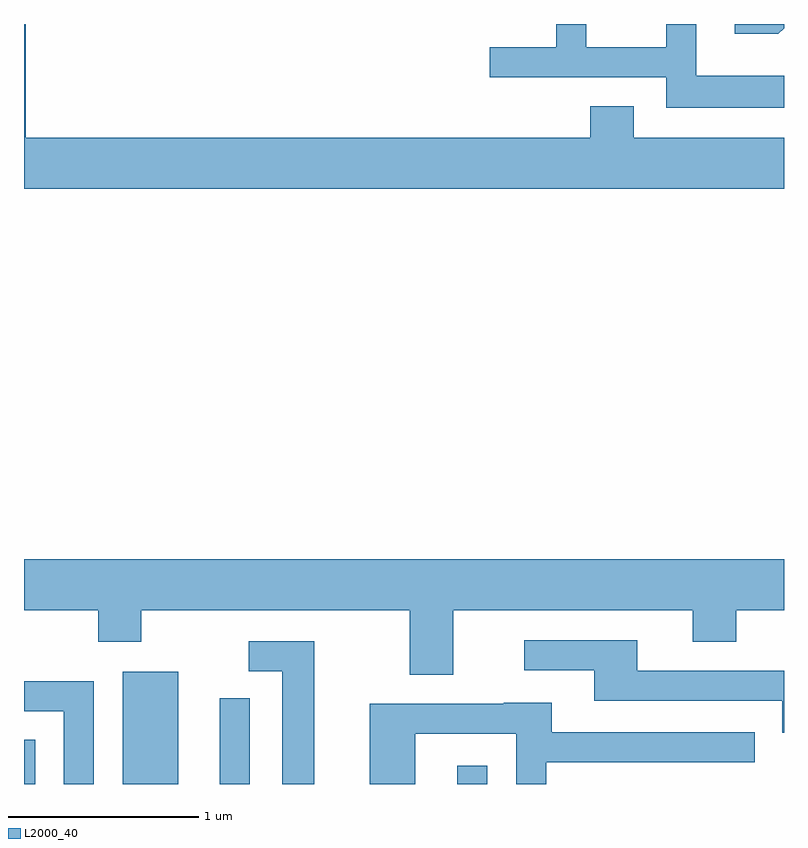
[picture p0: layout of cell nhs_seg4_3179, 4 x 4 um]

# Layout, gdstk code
import gdstk
lib = gdstk.Library(unit=1e-6, precision=1e-09)
def R(c, l, rs):  # rectangles x0, y0, x1, y1
    for r in rs: c.add(gdstk.rectangle(r[:2], r[2:], *l))
def P(c, l, *ps):  # polygons
    for p in ps: c.add(gdstk.Polygon(p, *l))
L2000_40 = (2000, 40)

nhs_seg4_3179 = lib.new_cell('nhs_seg4_3179')
R(nhs_seg4_3179, L2000_40, [(277.611,1355.982,277.669,1356.214), (278.131,1355.982,278.424,1356.574), (278.641,1355.982,278.799,1356.433), (279.891,1355.982,280.049,1356.078)])
P(nhs_seg4_3179, L2000_40, [(281.611,1359.384),(280.819,1359.384),(280.819,1359.549),(280.591,1359.549),(280.591,1359.384),(277.619,1359.384),(277.619,1359.982),(277.611,1359.982),(277.611,1359.116),(281.611,1359.116)],
  [(281.611,1359.96),(281.611,1359.982),(281.353,1359.982),(281.353,1359.931),(281.582,1359.931)],
  [(281.611,1359.709),(281.149,1359.709),(281.149,1359.982),(280.991,1359.982),(280.991,1359.859),(280.569,1359.859),(280.569,1359.982),(280.411,1359.982),(280.411,1359.859),(280.063,1359.859),(280.063,1359.701),(280.991,1359.701),(280.991,1359.541),(281.611,1359.541)],
  [(279.869,1356.896),(281.131,1356.896),(281.131,1356.731),(281.359,1356.731),(281.359,1356.896),(281.611,1356.896),(281.611,1357.164),(277.611,1357.164),(277.611,1356.896),(278.001,1356.896),(278.001,1356.731),(278.229,1356.731),(278.229,1356.896),(279.641,1356.896),(279.641,1356.556),(279.869,1356.556)],
  [(281.611,1356.579),(280.839,1356.579),(280.839,1356.739),(280.243,1356.739),(280.243,1356.581),(280.611,1356.581),(280.611,1356.421),(281.601,1356.421),(281.601,1356.251),(281.611,1356.251)],
  [(279.139,1356.734),(278.793,1356.734),(278.793,1356.576),(278.971,1356.576),(278.971,1355.982),(279.139,1355.982)],
  [(277.979,1356.524),(277.611,1356.524),(277.611,1356.366),(277.821,1356.366),(277.821,1355.982),(277.979,1355.982)],
  [(279.669,1356.246),(280.201,1356.246),(280.201,1355.982),(280.359,1355.982),(280.359,1356.096),(281.458,1356.096),(281.458,1356.254),(280.389,1356.254),(280.389,1356.409),(280.135,1356.409),(280.135,1356.404),(279.431,1356.404),(279.431,1355.982),(279.669,1355.982)])

lib.write_gds('nhs_seg4_3179.gds')
